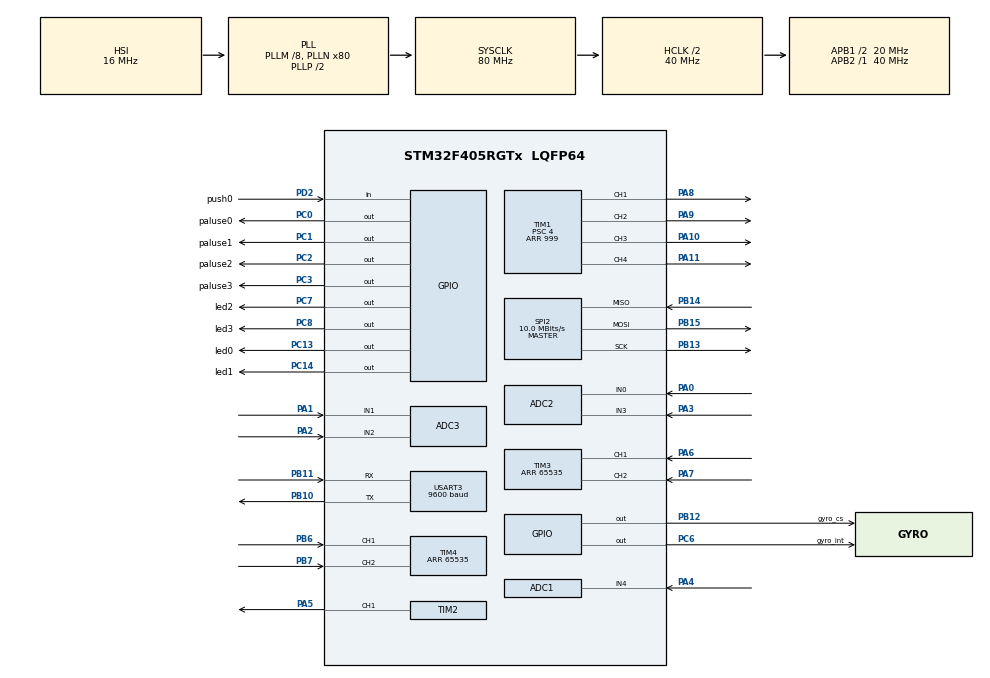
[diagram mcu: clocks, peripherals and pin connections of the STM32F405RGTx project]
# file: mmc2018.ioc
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ADC1.Channel-8\#ChannelRegularConversion=ADC_CHANNEL_4
ADC1.ClockPrescaler=ADC_CLOCK_SYNC_PCLK_DIV4
ADC1.ContinuousConvMode=DISABLE
ADC1.DMAContinuousRequests=DISABLE
ADC1.DataAlign=ADC_DATAALIGN_RIGHT
ADC1.DiscontinuousConvMode=DISABLE
ADC1.EOCSelection=ADC_EOC_SINGLE_CONV
ADC1.EnableAnalogWatchDog=false
ADC1.ExternalTrigConv=ADC_SOFTWARE_START
ADC1.ExternalTrigConvEdge=ADC_EXTERNALTRIGCONVEDGE_NONE
ADC1.InjNumberOfConversion=0
ADC1.NbrOfConversion=1
ADC1.NbrOfConversionFlag=1
ADC1.Rank-8\#ChannelRegularConversion=1
ADC1.Resolution=ADC_RESOLUTION_12B
ADC1.SamplingTime-8\#ChannelRegularConversion=ADC_SAMPLETIME_56CYCLES
ADC1.ScanConvMode=DISABLE
ADC1.master=1
ADC2.Channel-10\#ChannelRegularConversion=ADC_CHANNEL_0
ADC2.ClockPrescaler=ADC_CLOCK_SYNC_PCLK_DIV4
ADC2.NbrOfConversionFlag=1
ADC2.Rank-10\#ChannelRegularConversion=1
ADC2.SamplingTime-10\#ChannelRegularConversion=ADC_SAMPLETIME_3CYCLES
ADC3.Channel-28\#ChannelRegularConversion=ADC_CHANNEL_1
ADC3.ClockPrescaler=ADC_CLOCK_SYNC_PCLK_DIV4
ADC3.NbrOfConversionFlag=1
ADC3.Rank-28\#ChannelRegularConversion=1
ADC3.SamplingTime-28\#ChannelRegularConversion=ADC_SAMPLETIME_3CYCLES
Mcu.Family=STM32F4
Mcu.Name=STM32F405RGTx
Mcu.Package=LQFP64
NVIC.PriorityGroup=NVIC_PRIORITYGROUP_4
NVIC.TIM5_IRQn=true\:0\:0\:false\:false\:true\:true
PA0-WKUP.Signal=ADCx_IN0
PA1.Signal=ADCx_IN1
PA10.Signal=S_TIM1_CH3
PA11.Signal=S_TIM1_CH4
PA2.Signal=ADCx_IN2
PA3.Signal=ADCx_IN3
PA4.Signal=ADCx_IN4
PA5.Signal=S_TIM2_CH1_ETR
PA6.Signal=S_TIM3_CH1
PA7.Signal=S_TIM3_CH2
PA8.Signal=S_TIM1_CH1
PA9.Signal=S_TIM1_CH2
PB10.Mode=Asynchronous
PB10.Signal=USART3_TX
PB11.Mode=Asynchronous
PB11.Signal=USART3_RX
PB12.GPIO_Label=gyro_cs
PB12.Signal=GPIO_Output
PB13.Mode=Full_Duplex_Master
PB13.Signal=SPI2_SCK
PB14.Mode=Full_Duplex_Master
PB14.Signal=SPI2_MISO
PB15.Mode=Full_Duplex_Master
PB15.Signal=SPI2_MOSI
PB6.Signal=S_TIM4_CH1
PB7.Signal=S_TIM4_CH2
PC0.GPIO_Label=paluse0
PC0.Signal=GPIO_Output
PC1.GPIO_Label=paluse1
PC1.Signal=GPIO_Output
PC13-ANTI_TAMP.GPIO_Label=led0
PC13-ANTI_TAMP.Signal=GPIO_Output
PC14-OSC32_IN.GPIO_Label=led1
PC14-OSC32_IN.Signal=GPIO_Output
PC2.GPIO_Label=paluse2
PC2.Signal=GPIO_Output
PC3.GPIO_Label=paluse3
PC3.Signal=GPIO_Output
PC6.GPIO_Label=gyro_int
PC6.Signal=GPIO_Output
PC7.GPIO_Label=led2
PC7.Signal=GPIO_Output
PC8.GPIO_Label=led3
PC8.Signal=GPIO_Output
PD2.GPIO_Label=push0
PD2.Signal=GPIO_Input
ProjectManager.HeapSize=0x200
ProjectManager.StackSize=0x400
ProjectManager.TargetToolchain=Makefile
RCC.48MHZClocksFreq_Value=40000000
RCC.AHBCLKDivider=RCC_SYSCLK_DIV2
RCC.AHBFreq_Value=40000000
RCC.APB1CLKDivider=RCC_HCLK_DIV2
RCC.APB1Freq_Value=20000000
RCC.APB1TimFreq_Value=40000000
RCC.APB2Freq_Value=40000000
RCC.APB2TimFreq_Value=40000000
RCC.CortexFreq_Value=40000000
RCC.HCLKFreq_Value=40000000
RCC.HSE_VALUE=25000000
RCC.HSI_VALUE=16000000
RCC.LSE_VALUE=32768
RCC.PLLM=8
RCC.PLLN=80
RCC.SYSCLKFreq_VALUE=80000000
RCC.SYSCLKSource=RCC_SYSCLKSOURCE_PLLCLK
RCC.VCOOutputFreq_Value=160000000
SH.ADCx_IN0.0=ADC2_IN0,IN0
SH.ADCx_IN1.0=ADC3_IN1,IN1
SH.ADCx_IN2.0=ADC3_IN2,IN2
SH.ADCx_IN3.0=ADC2_IN3,IN3
SH.ADCx_IN4.0=ADC1_IN4,IN4
SH.S_TIM1_CH1.0=TIM1_CH1,PWM Generation1 CH1
SH.S_TIM1_CH2.0=TIM1_CH2,PWM Generation2 CH2
SH.S_TIM1_CH3.0=TIM1_CH3,PWM Generation3 CH3
SH.S_TIM1_CH4.0=TIM1_CH4,PWM Generation4 CH4
SH.S_TIM2_CH1_ETR.0=TIM2_CH1,PWM Generation1 CH1
SH.S_TIM3_CH1.0=TIM3_CH1,Encoder_Interface
SH.S_TIM3_CH2.0=TIM3_CH2,Encoder_Interface
SH.S_TIM4_CH1.0=TIM4_CH1,Encoder_Interface
SH.S_TIM4_CH2.0=TIM4_CH2,Encoder_Interface
SPI2.CalculateBaudRate=10.0 MBits/s
SPI2.Direction=SPI_DIRECTION_2LINES
SPI2.Mode=SPI_MODE_MASTER
SPI2.VirtualType=VM_MASTER
TIM1.Channel-PWM\ Generation1\ CH1=TIM_CHANNEL_1
TIM1.Channel-PWM\ Generation2\ CH2=TIM_CHANNEL_2
TIM1.Channel-PWM\ Generation3\ CH3=TIM_CHANNEL_3
TIM1.Channel-PWM\ Generation4\ CH4=TIM_CHANNEL_4
TIM1.Period=999
TIM1.Prescaler=4
TIM2.Channel-PWM\ Generation1\ CH1=TIM_CHANNEL_1
TIM2.Period=999
TIM2.Prescaler=9
TIM3.Period=65535
TIM4.Period=65535
TIM5.Period=999
TIM5.Prescaler=9
USART3.BaudRate=9600
USART3.VirtualMode=VM_ASYNC
VP_TIM5_VS_ClockSourceINT.Mode=Internal
board=mmc2018

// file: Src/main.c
/**
  ******************************************************************************
  * @file           : main.c
  * @brief          : Main program body
  ******************************************************************************
  ** This notice applies to any and all portions of this file
  * that are not between comment pairs USER CODE BEGIN and
  * USER CODE END. Other portions of this file, whether
  * inserted by the user or by software development tools
  * are owned by their respective copyright owners.
  *
  * COPYRIGHT(c) 2018 STMicroelectronics
  *
  * Redistribution and use in source and binary forms, with or without modification,
  * are permitted provided that the following conditions are met:
  *   1. Redistributions of source code must retain the above copyright notice,
  *      this list of conditions and the following disclaimer.
  *   2. Redistributions in binary form must reproduce the above copyright notice,
  *      this list of conditions and the following disclaimer in the documentation
  *      and/or other materials provided with the distribution.
  *   3. Neither the name of STMicroelectronics nor the names of its contributors
  *      may be used to endorse or promote products derived from this software
  *      without specific prior written permission.
  *
  * THIS SOFTWARE IS PROVIDED BY THE COPYRIGHT HOLDERS AND CONTRIBUTORS "AS IS"
  * AND ANY EXPRESS OR IMPLIED WARRANTIES, INCLUDING, BUT NOT LIMITED TO, THE
  * IMPLIED WARRANTIES OF MERCHANTABILITY AND FITNESS FOR A PARTICULAR PURPOSE ARE
  * DISCLAIMED. IN NO EVENT SHALL THE COPYRIGHT HOLDER OR CONTRIBUTORS BE LIABLE
  * FOR ANY DIRECT, INDIRECT, INCIDENTAL, SPECIAL, EXEMPLARY, OR CONSEQUENTIAL
  * DAMAGES (INCLUDING, BUT NOT LIMITED TO, PROCUREMENT OF SUBSTITUTE GOODS OR
  * SERVICES; LOSS OF USE, DATA, OR PROFITS; OR BUSINESS INTERRUPTION) HOWEVER
  * CAUSED AND ON ANY THEORY OF LIABILITY, WHETHER IN CONTRACT, STRICT LIABILITY,
  * OR TORT (INCLUDING NEGLIGENCE OR OTHERWISE) ARISING IN ANY WAY OUT OF THE USE
  * OF THIS SOFTWARE, EVEN IF ADVISED OF THE POSSIBILITY OF SUCH DAMAGE.
  *
  ******************************************************************************
  */
#include "main.h"
#include "stm32f4xx_hal.h"
#include "adc.h"
#include "spi.h"
#include "tim.h"
#include "usart.h"
#include "gpio.h"

/* USER CODE BEGIN Includes */
#include <arm_math.h>
#include <string.h>
#include <stdio.h>

#ifdef __GNUC__
#define PUTCHAR_PROTOTYPE int __io_putchar(int ch)
#else
#define PUTCHAR_PROTOTYPE int fputc(int ch, FILE *f)
#endif /* __GNUC__ */
void __io_putchar(uint8_t ch) {
  HAL_UART_Transmit(&huart3, &ch, 1, 1);
}
/* USER CODE END Includes */

/* USER CODE BEGIN PV */
/* Private variables ---------------------------------------------------------*/
extern int batt_analog;
extern int sensor[4];
/* USER CODE END PV */

void SystemClock_Config(void);

/* USER CODE BEGIN PFP */
/* Private function prototypes -----------------------------------------------*/
void l_chika(void);
void Batt_Check(void);
/* USER CODE END PFP */

int main(void)
{

  /* MCU Configuration----------------------------------------------------------*/

  /* Reset of all peripherals, Initializes the Flash interface and the Systick. */
  HAL_Init();

  /* Configure the system clock */
  SystemClock_Config();

  /* Initialize all configured peripherals */
  MX_GPIO_Init();
  MX_USART3_UART_Init();
  MX_TIM4_Init();
  MX_SPI2_Init();
  MX_TIM3_Init();
  MX_TIM2_Init();
  MX_TIM1_Init();
  MX_TIM5_Init();
  MX_ADC1_Init();
  MX_ADC2_Init();
  MX_ADC3_Init();
  /* USER CODE BEGIN 2 */
  setbuf(stdout, NULL);
  HAL_TIM_Base_Start_IT(&htim5);
  /* USER CODE END 2 */

  /* Infinite loop */
  while (1)
  {

  }

}

void SystemClock_Config(void)
{

  RCC_OscInitTypeDef RCC_OscInitStruct;
  RCC_ClkInitTypeDef RCC_ClkInitStruct;

    /**Configure the main internal regulator output voltage
    */
  __HAL_RCC_PWR_CLK_ENABLE();

  __HAL_PWR_VOLTAGESCALING_CONFIG(PWR_REGULATOR_VOLTAGE_SCALE1);

    /**Initializes the CPU, AHB and APB busses clocks
    */
  RCC_OscInitStruct.OscillatorType = RCC_OSCILLATORTYPE_HSI;
  RCC_OscInitStruct.HSIState = RCC_HSI_ON;
  RCC_OscInitStruct.HSICalibrationValue = 16;
  RCC_OscInitStruct.PLL.PLLState = RCC_PLL_ON;
  RCC_OscInitStruct.PLL.PLLSource = RCC_PLLSOURCE_HSI;
  RCC_OscInitStruct.PLL.PLLM = 8;
  RCC_OscInitStruct.PLL.PLLN = 80;
  RCC_OscInitStruct.PLL.PLLP = RCC_PLLP_DIV2;
  RCC_OscInitStruct.PLL.PLLQ = 4;
  if (HAL_RCC_OscConfig(&RCC_OscInitStruct) != HAL_OK)
  {
    _Error_Handler(__FILE__, __LINE__);
  }

    /**Initializes the CPU, AHB and APB busses clocks
    */
  RCC_ClkInitStruct.ClockType = RCC_CLOCKTYPE_HCLK|RCC_CLOCKTYPE_SYSCLK
                              |RCC_CLOCKTYPE_PCLK1|RCC_CLOCKTYPE_PCLK2;
  RCC_ClkInitStruct.SYSCLKSource = RCC_SYSCLKSOURCE_PLLCLK;
  RCC_ClkInitStruct.AHBCLKDivider = RCC_SYSCLK_DIV2;
  RCC_ClkInitStruct.APB1CLKDivider = RCC_HCLK_DIV2;
  RCC_ClkInitStruct.APB2CLKDivider = RCC_HCLK_DIV1;

  if (HAL_RCC_ClockConfig(&RCC_ClkInitStruct, FLASH_LATENCY_1) != HAL_OK)
  {
    _Error_Handler(__FILE__, __LINE__);
  }

    /**Configure the Systick interrupt time
    */
  HAL_SYSTICK_Config(HAL_RCC_GetHCLKFreq()/1000);

    /**Configure the Systick
    */
  HAL_SYSTICK_CLKSourceConfig(SYSTICK_CLKSOURCE_HCLK);

  /* SysTick_IRQn interrupt configuration */
  HAL_NVIC_SetPriority(SysTick_IRQn, 0, 0);
}

/* USER CODE BEGIN 4 */
void l_chika(void)
{
    All_LED_ON();
    HAL_Delay(1000);
    All_LED_OFF();
    HAL_Delay(1000);
}

void Batt_Check(void)
{
  float batt=0;
  for(int i=0;i<50;i++){
    batt += batt_analog;
  }
  batt /= 50;
  batt = batt/4095.0*3.3*1330/330;
  printf("batt:%lf\r",batt);
}
/* USER CODE END 4 */

void _Error_Handler(char *file, int line)
{
  while(1)
  {
  }
}

/************************ (C) COPYRIGHT STMicroelectronics *****END OF FILE****/
